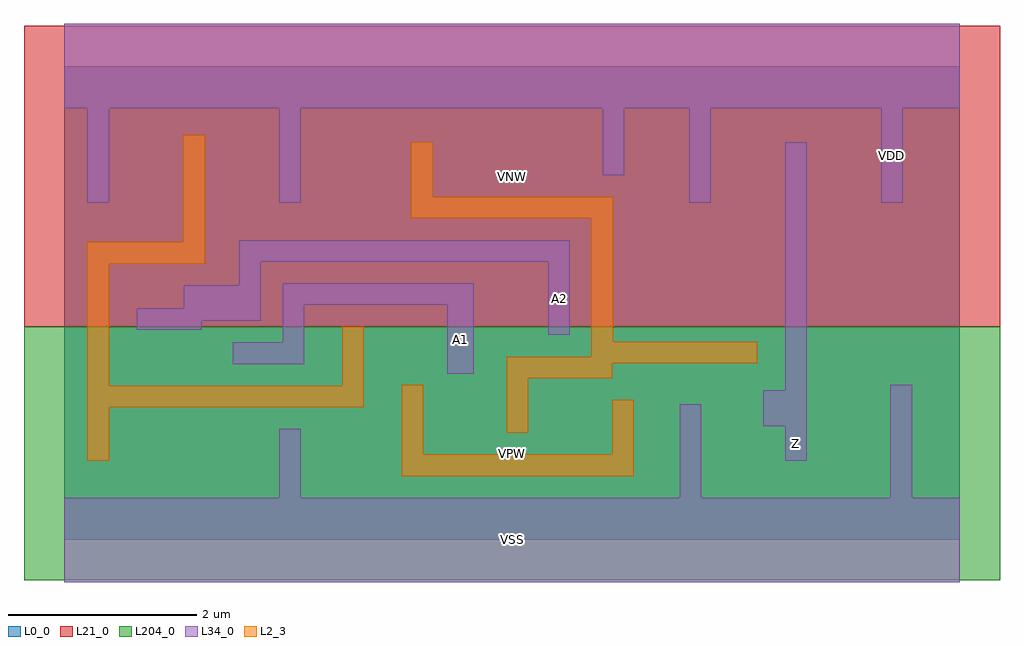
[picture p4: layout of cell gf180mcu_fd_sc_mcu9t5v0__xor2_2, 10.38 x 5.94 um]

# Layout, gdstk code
import gdstk
lib = gdstk.Library(unit=1e-6, precision=1e-09)
def R(c, l, rs):  # rectangles x0, y0, x1, y1
    for r in rs: c.add(gdstk.rectangle(r[:2], r[2:], *l))
L0_0 = (0, 0)
L2_3 = (2, 3)
L21_0 = (21, 0)
L34_0 = (34, 0)
L204_0 = (204, 0)

gf180mcu_fd_sc_mcu9t5v0_ = lib.new_cell('gf180mcu_fd_sc_mcu9t5v0__xor2_2')
R(gf180mcu_fd_sc_mcu9t5v0_, L0_0, [(0,0,9.52,5.04)])
R(gf180mcu_fd_sc_mcu9t5v0_, L2_3, [(3.585,0.68,6.055,0.91), (0.245,0.84,0.475,1.41), (3.585,0.91,3.815,1.65), (5.825,0.91,6.055,1.49), (4.705,1.14,4.935,1.72), (0.245,1.41,3.185,1.64), (0.245,1.64,0.475,2.94), (2.955,1.64,3.185,2.27), (4.705,1.72,5.825,1.88), (4.705,1.88,7.37,1.95), (5.605,1.95,7.37,2.11), (5.605,2.11,5.835,3.42), (0.245,2.94,1.495,3.17), (1.265,3.17,1.495,4.31), (3.685,3.42,5.835,3.65), (3.685,3.65,3.915,4.23)])
R(gf180mcu_fd_sc_mcu9t5v0_, L21_0, [(-0.43,2.265,9.95,5.47)])
R(gf180mcu_fd_sc_mcu9t5v0_, L34_0, [(0,-0.45,9.52,0.45), (2.285,0.45,2.515,1.18), (6.545,0.45,6.775,1.445), (8.785,0.45,9.015,1.65), (7.665,0.84,7.895,1.21), (7.43,1.21,7.895,1.59), (7.665,1.59,7.895,4.23), (4.07,1.77,4.355,2.5), (1.79,1.87,2.55,2.1), (2.32,2.1,2.55,2.5), (5.145,2.18,5.375,2.96), (0.77,2.235,1.46,2.33), (0.77,2.33,2.09,2.465), (1.27,2.465,2.09,2.71), (2.32,2.5,4.355,2.73), (1.86,2.71,2.09,2.96), (1.86,2.96,5.375,3.19), (0.245,3.585,0.475,4.59), (2.285,3.585,2.515,4.59), (6.645,3.585,6.875,4.59), (8.685,3.585,8.915,4.59), (5.725,3.88,5.955,4.59), (0,4.59,9.52,5.49)])
R(gf180mcu_fd_sc_mcu9t5v0_, L204_0, [(-0.43,-0.43,9.95,2.265)])
gf180mcu_fd_sc_mcu9t5v0_.add(gdstk.Label('A1', (4.212,2.135), layer=34, texttype=10))
gf180mcu_fd_sc_mcu9t5v0_.add(gdstk.Label('A2', (5.26,2.57), layer=34, texttype=10))
gf180mcu_fd_sc_mcu9t5v0_.add(gdstk.Label('Z', (7.78,1.025), layer=34, texttype=10))
gf180mcu_fd_sc_mcu9t5v0_.add(gdstk.Label('VDD', (8.8,4.087), layer=34, texttype=10))
gf180mcu_fd_sc_mcu9t5v0_.add(gdstk.Label('VSS', (4.76,0), layer=34, texttype=10))
gf180mcu_fd_sc_mcu9t5v0_.add(gdstk.Label('VNW', (4.76,3.867), layer=3, texttype=1))
gf180mcu_fd_sc_mcu9t5v0_.add(gdstk.Label('VPW', (4.76,0.917), layer=4, texttype=1))

lib.write_gds('gf180mcu_fd_sc_mcu9t5v0__xor2_2.gds')
